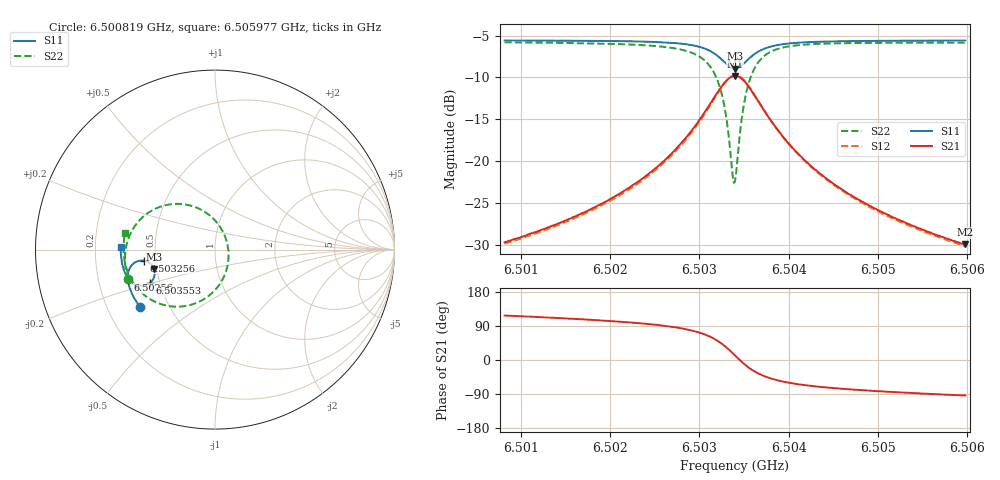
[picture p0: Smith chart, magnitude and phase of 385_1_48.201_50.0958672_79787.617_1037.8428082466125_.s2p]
#  HZ  S  RI  R  50.00
! Rohde & Schwarz Vector Network Analyzer
! Rohde-Schwarz,ZNB20-2Port,1311601062101988,3.16
! Created: UTC 3/20/2024, 11:53:16 AM
! freq[Hz]  re:S11  im:S11  re:S21  im:S21  re:S12  im:S12  re:S22  im:S22
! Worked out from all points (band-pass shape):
!   401 points, 6.500819 GHz to 6.505977 GHz, reference 50 ohm
!   highest |S21| = -9.81 dB at 6.503398 GHz (marker M1); lowest = -30.0 dB at 6.505977 GHz (marker M2)
!   |S21| within 3 dB of the highest: 6.503141 GHz to 6.503656 GHz (515.5 kHz wide, 0.00793 % of centre)
!   lowest |S11| = -9.0 dB at 6.503398 GHz (marker M3), VSWR 2.11, Z = 24.2 - j6.08 ohm
!   |S11| at or under -10 dB: nowhere
!   |S22| runs from -22.6 to -5.8 dB; largest |S21 - S12| = 0.011
!   S11 on the Smith chart (normalised r, x): 6.500819 GHz: 0.34, -0.30; 6.50256 GHz: 0.33, -0.15; 6.503256 GHz: 0.43, -0.06; 6.503553 GHz: 0.44, -0.20; 6.505977 GHz: 0.31, +0.01
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6.5008186e9  -0.4202 -0.3172  -0.015 0.029  -0.0134 0.0292  -0.4858 -0.1662
6.5016827e9  -0.4583 -0.2545  -0.0146 0.0464  -0.0122 0.0459  -0.5012 -0.0764
6.5021341e9  -0.4748 -0.2154  -0.0119 0.0641  -0.00916 0.063  -0.4999 -0.0146
6.5025469e9  -0.4852 -0.1711  -0.00328 0.0942  0.000309 0.092  -0.4812 0.0646
6.5025597e9  -0.4853 -0.1695  -0.00267 0.0955  0.000857 0.0932  -0.4802 0.0675
6.5028048e9  -0.4849 -0.1343  0.0151 0.1284  0.019 0.1247  -0.4423 0.1369
6.5029853e9  -0.4737 -0.1013  0.0494 0.1643  0.0527 0.159  -0.375 0.203
6.503153e9  -0.4394 -0.068  0.1263 0.1978  0.1273 0.1913  -0.2344 0.2538
6.5032562e9  -0.3972 -0.061  0.2106 0.1893  0.2108 0.1841  -0.0872 0.2272
6.5033078e9  -0.3718 -0.0694  0.2585 0.1619  0.2594 0.1573  -0.00759 0.1708
6.5033723e9  -0.3455 -0.0953  0.306 0.0993  0.3084 0.0944  0.0639 0.0504
6.5033981e9  -0.3391 -0.1097  0.3162 0.0674  0.3192 0.0618  0.0749 -0.00857
6.503411e9  -0.3371 -0.1172  0.319 0.051  0.3221 0.0448  0.0756 -0.039
6.5034883e9  -0.343 -0.1617  0.3025 -0.0424  0.3044 -0.0522  0.0194 -0.2021
6.5035528e9  -0.3638 -0.1871  0.2604 -0.0959  0.2594 -0.1069  -0.0754 -0.284
6.503656e9  -0.4028 -0.2021  0.1871 -0.1319  0.1818 -0.1411  -0.223 -0.3178
6.5038237e9  -0.4484 -0.1923  0.1068 -0.1291  0.1 -0.134  -0.3676 -0.2724
6.5040042e9  -0.4755 -0.1711  0.0631 -0.1095  0.057 -0.1117  -0.4387 -0.2084
6.5042622e9  -0.496 -0.1409  0.0334 -0.0858  0.029 -0.0863  -0.4815 -0.1371
6.5046749e9  -0.5123 -0.0987  0.014 -0.0618  0.0109 -0.0615  -0.5043 -0.0586
6.5051263e9  -0.521 -0.0574  0.00495 -0.047  0.00279 -0.0463  -0.5096 0.00305
6.5059775e9  -0.5257 0.0142  -0.00202 -0.0316  -0.00339 -0.0308  -0.5016 0.0915
